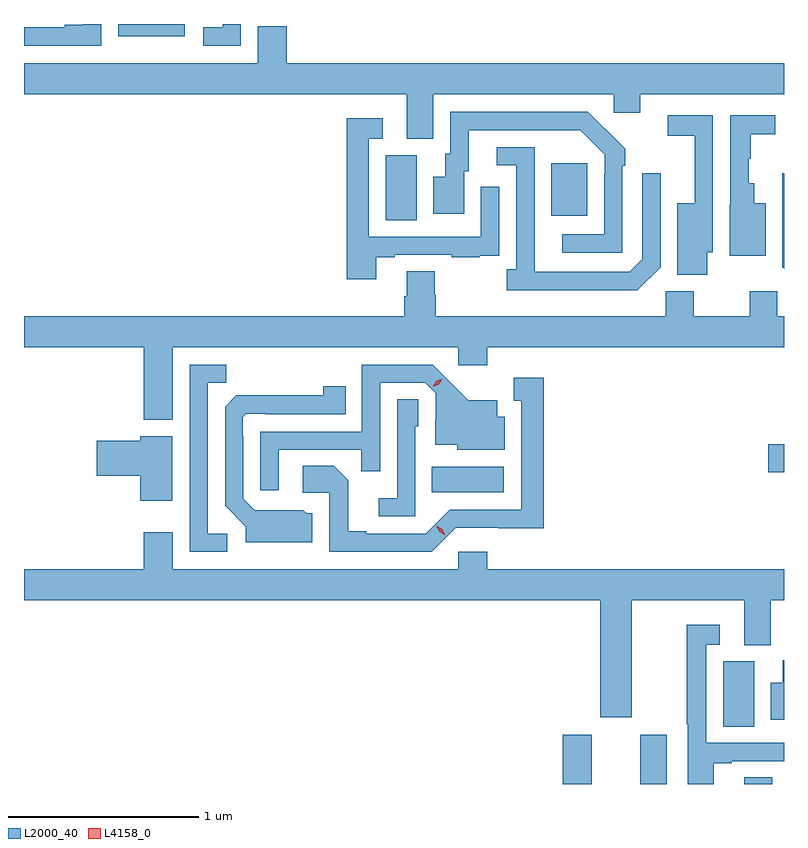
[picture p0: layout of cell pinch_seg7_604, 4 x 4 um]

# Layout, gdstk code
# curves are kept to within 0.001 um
import gdstk
lib = gdstk.Library(unit=1e-6, precision=1e-09)
def R(c, l, rs):  # rectangles x0, y0, x1, y1
    for r in rs: c.add(gdstk.rectangle(r[:2], r[2:], *l))
def P(c, l, *ps):  # polygons
    for p in ps: c.add(gdstk.Polygon(p, *l))
L2000_40 = (2000, 40)
L4158_0 = (4158, 0)

pinch_seg7_604 = lib.new_cell('pinch_seg7_604')
R(pinch_seg7_604, L2000_40, [(124.517,1010.306,124.669,1010.566), (124.925,1010.306,125.065,1010.566), (125.471,1010.306,125.619,1010.342), (125.36,1010.608,125.524,1010.952), (123.826,1011.842,124.207,1011.976), (125.598,1011.947,125.681,1012.094), (123.584,1013.272,123.748,1013.616), (124.457,1013.297,124.645,1013.572), (122.177,1014.242,122.527,1014.306)])
P(pinch_seg7_604, L2000_40, [(122.823,1014.306),(122.727,1014.306),(122.727,1014.288),(122.625,1014.288),(122.625,1014.192),(122.823,1014.192)],
  [(122.088,1014.306),(121.989,1014.306),(121.989,1014.301),(121.895,1014.301),(121.895,1014.288),(121.681,1014.288),(121.681,1014.192),(122.088,1014.192)],
  [(123.835,1013.936),(124.785,1013.936),(124.785,1013.838),(124.924,1013.838),(124.924,1013.936),(125.681,1013.936),(125.681,1014.1),(123.065,1014.1),(123.065,1014.295),(122.912,1014.295),(122.912,1014.1),(121.681,1014.1),(121.681,1013.936),(123.695,1013.936),(123.695,1013.701),(123.835,1013.701)],
  [(124.83,1013.561),(124.845,1013.561),(124.845,1013.649),(124.648,1013.844),(123.924,1013.844),(123.924,1013.622),(123.899,1013.622),(123.899,1013.503),(123.836,1013.503),(123.836,1013.307),(123.997,1013.307),(123.997,1013.532),(124.021,1013.532),(124.021,1013.748),(124.609,1013.748),(124.737,1013.619),(124.737,1013.519),(124.734,1013.519),(124.734,1013.199),(124.515,1013.199),(124.515,1013.103),(124.83,1013.103)],
  [(125.584,1013.362),(125.524,1013.362),(125.524,1013.467),(125.495,1013.467),(125.495,1013.598),(125.506,1013.598),(125.506,1013.725),(125.635,1013.725),(125.635,1013.826),(125.397,1013.826),(125.397,1013.358),(125.396,1013.358),(125.396,1013.087),(125.584,1013.087)],
  [(125.278,1013.105),(125.307,1013.105),(125.307,1013.826),(125.07,1013.826),(125.07,1013.718),(125.21,1013.718),(125.21,1013.362),(125.12,1013.362),(125.12,1012.986),(125.278,1012.986)],
  [(123.535,1013.079),(123.631,1013.079),(123.631,1013.091),(123.931,1013.091),(123.931,1013.079),(124.079,1013.079),(124.079,1013.085),(124.181,1013.085),(124.181,1013.194),(124.182,1013.194),(124.182,1013.449),(124.086,1013.449),(124.086,1013.187),(123.495,1013.187),(123.495,1013.703),(123.568,1013.703),(123.568,1013.809),(123.379,1013.809),(123.379,1012.962),(123.535,1012.962)],
  [(125.031,1013.027),(125.031,1013.521),(124.935,1013.521),(124.935,1013.067),(124.869,1013.001),(124.369,1013.001),(124.368,1013.658),(124.17,1013.658),(124.17,1013.562),(124.272,1013.562),(124.272,1013.014),(124.221,1013.014),(124.221,1012.904),(124.908,1012.904)],
  [(125.681,1013.521),(125.673,1013.521),(125.673,1013.025),(125.681,1013.017)],
  [(122.464,1012.604),(123.966,1012.604),(123.966,1012.509),(124.118,1012.509),(124.118,1012.604),(125.681,1012.604),(125.681,1012.768),(125.646,1012.768),(125.646,1012.9),(125.5,1012.9),(125.5,1012.768),(125.205,1012.768),(125.205,1012.9),(125.058,1012.9),(125.058,1012.768),(123.848,1012.768),(123.848,1012.881),(123.843,1012.881),(123.843,1013.006),(123.695,1013.006),(123.695,1012.874),(123.683,1012.874),(123.683,1012.768),(121.681,1012.768),(121.681,1012.604),(122.312,1012.604),(122.312,1012.224),(122.464,1012.224)],
  [(123.021,1012.065),(123.457,1012.065),(123.457,1011.952),(123.555,1011.952),(123.555,1012.419),(123.792,1012.419),(123.849,1012.362),(123.849,1012.22),(123.845,1012.22),(123.845,1012.091),(123.96,1012.091),(123.96,1012.064),(124.21,1012.064),(124.21,1012.24),(124.171,1012.24),(124.171,1012.327),(124.019,1012.327),(123.832,1012.512),(123.459,1012.512),(123.459,1012.161),(122.925,1012.161),(122.925,1011.852),(123.021,1011.852)],
  [(122.752,1011.624),(122.649,1011.624),(122.649,1012.417),(122.745,1012.417),(122.745,1012.512),(122.553,1012.512),(122.553,1011.528),(122.752,1011.528)],
  [(123.954,1011.654),(124.417,1011.653),(124.417,1012.444),(124.259,1012.444),(124.259,1012.323),(124.298,1012.323),(124.298,1011.75),(123.921,1011.75),(123.795,1011.624),(123.481,1011.624),(123.481,1011.637),(123.387,1011.637),(123.387,1011.904),(123.311,1011.98),(123.147,1011.98),(123.147,1011.84),(123.288,1011.84),(123.288,1011.528),(123.828,1011.528)],
  [(123.199,1011.732),(123.168,1011.732),(123.152,1011.748),(122.895,1011.747),(122.835,1011.807),(122.835,1012.136),(122.832,1012.136),(122.832,1012.236),(122.85,1012.254),(122.95,1012.254),(122.95,1012.251),(123.374,1012.251),(123.374,1012.399),(123.256,1012.399),(123.256,1012.352),(122.798,1012.351),(122.739,1012.292),(122.739,1011.77),(122.849,1011.66),(122.849,1011.578),(123.199,1011.578)],
  [(123.741,1012.188),(123.756,1012.188),(123.756,1012.331),(123.645,1012.331),(123.645,1011.811),(123.549,1011.811),(123.549,1011.714),(123.741,1011.714)],
  [(122.461,1012.135),(122.294,1012.135),(122.294,1012.112),(122.064,1012.112),(122.064,1011.929),(122.294,1011.929),(122.294,1011.798),(122.461,1011.798)],
  [(124.879,1011.272),(125.471,1011.272),(125.471,1011.037),(125.611,1011.037),(125.611,1011.272),(125.681,1011.272),(125.681,1011.436),(124.118,1011.436),(124.118,1011.529),(123.966,1011.529),(123.966,1011.436),(122.464,1011.436),(122.464,1011.631),(122.312,1011.631),(122.312,1011.436),(121.681,1011.436),(121.681,1011.272),(124.715,1011.272),(124.715,1010.658),(124.879,1010.658)],
  [(125.311,1010.415),(125.407,1010.415),(125.407,1010.427),(125.681,1010.427),(125.681,1010.523),(125.271,1010.523),(125.271,1011.039),(125.344,1011.039),(125.344,1011.145),(125.17,1011.145),(125.17,1010.62),(125.175,1010.62),(125.175,1010.306),(125.311,1010.306)],
  [(125.681,1010.958),(125.675,1010.958),(125.675,1010.839),(125.612,1010.839),(125.612,1010.643),(125.681,1010.643)])
P(pinch_seg7_604, L4158_0, [(123.899,1011.614),(123.868,1011.633),(123.85,1011.665),(123.85,1011.666),(123.85,1011.666),(123.882,1011.647),(123.899,1011.614),(123.899,1011.614)],
  [(123.832,1012.396),(123.832,1012.396),(123.85,1012.425),(123.881,1012.439),(123.881,1012.439),(123.881,1012.439),(123.863,1012.41),(123.832,1012.396)])

lib.write_gds('pinch_seg7_604.gds')
